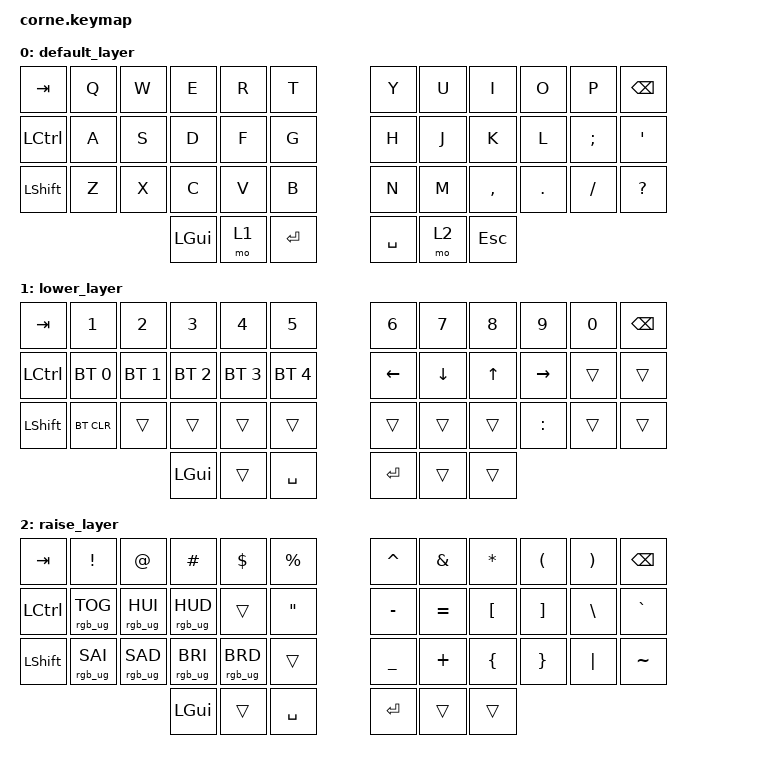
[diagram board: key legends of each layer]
/*
 * Copyright (c) 2020 The ZMK Contributors
 *
 * SPDX-License-Identifier: MIT
 */

#include <behaviors.dtsi>
#include <dt-bindings/zmk/keys.h>
#include <dt-bindings/zmk/bt.h>
#include <dt-bindings/zmk/rgb.h>

/ {
        keymap {
                compatible = "zmk,keymap";

                default_layer {
// -----------------------------------------------------------------------------------------
// |  TAB |  Q  |  W  |  E  |  R  |  T  |   |  Y  |  U   |    I    |  O  |  P  | BSPC |
// | CTRL |  A  |  S  |  D  |  F  |  G  |   |  H  |  J   |    K    |  L  |  ;  |  '   |
// | SHFT |  Z  |  X  |  C  |  V  |  B  |   |  N  |  M   |    ,    |  .  |  /  |  ?   |
//                    | GUI | LWR | SPC |   | ENT | RSE  | ESC |
                        bindings = <
   &kp TAB   &kp Q &kp W &kp E &kp R &kp T   &kp Y &kp U  &kp I     &kp O   &kp P    &kp BSPC
   &kp LCTRL &kp A &kp S &kp D &kp F &kp G   &kp H &kp J  &kp K     &kp L   &kp SEMI &kp SQT
   &kp LSHFT &kp Z &kp X &kp C &kp V &kp B   &kp N &kp M  &kp COMMA &kp DOT &kp FSLH &kp QMARK
                  &kp LGUI &mo 1 &kp RET     &kp SPACE &mo 2 &kp ESC
                        >;
                };
                lower_layer {
// -----------------------------------------------------------------------------------------
// | TAB  |  1    |  2  |  3  |  4  |  5  |   |  6  |  7  |  8  |  9  |  0  | BSPC |
// | CTRL | BT1   | BT2 | BT3 | BT4 | BT5 |   | LFT | DWN |  UP | RGT |     |      |
// | SHFT | BTCLR |     |     |     |     |   |     |     |     |  :  |     |      |
//                      | GUI |     | SPC |   | ENT |     |     |
                        bindings = <
   &kp TAB    &kp N1       &kp N2       &kp N3       &kp N4       &kp N5         &kp N6   &kp N7   &kp N8 &kp N9    &kp N0 &kp BSPC
   &kp LCTRL &bt BT_SEL 0 &bt BT_SEL 1 &bt BT_SEL 2 &bt BT_SEL 3 &bt BT_SEL 4   &kp LEFT &kp DOWN &kp UP &kp RIGHT &trans &trans
   &kp LSHFT  &bt BT_CLR       &trans       &trans       &trans       &trans         &trans   &trans   &trans &kp COLON &trans &trans
                                        &kp LGUI     &trans       &kp SPACE      &kp RET  &trans   &trans
                        >;
                };

                raise_layer {
// -----------------------------------------------------------------------------------------
// | TAB  |  !      |  @      |  #       |  $      |  %  |   |  ^  |  &  |  *  |  (  |  )  | BSPC |
// | CTRL | RGG_TOG | RGB_HUI |  RGB_HUD |         |  "  |   |  -  |  =  |  [  |  ]  |  \  |  `   |
// | SHFT | RGB_SAI | RGB_SAD | RGB_BRI  | RGB_BRD |     |   |  _  |  +  |  {  |  }  | "|" |  ~   |
//                            | GUI      |         | SPC |   | ENT |     |     |      
                        bindings = <
   &kp TAB   &kp EXCL        &kp AT          &kp HASH        &kp DLLR        &kp PRCNT  &kp CARET &kp AMPS  &kp ASTRK &kp LPAR &kp RPAR &kp BSPC
   &kp LCTRL &rgb_ug RGB_TOG &rgb_ug RGB_HUI &rgb_ug RGB_HUD &trans          &kp DQT    &kp MINUS &kp EQUAL &kp LBKT  &kp RBKT &kp BSLH &kp GRAVE
   &kp LSHFT &rgb_ug RGB_SAI &rgb_ug RGB_SAD &rgb_ug RGB_BRI &rgb_ug RGB_BRD &trans     &kp UNDER &kp PLUS  &kp LBRC  &kp RBRC &kp PIPE &kp TILDE
                             &kp LGUI        &trans          &kp SPACE                  &kp RET   &trans    &trans
                        >;
                };
        };
};
